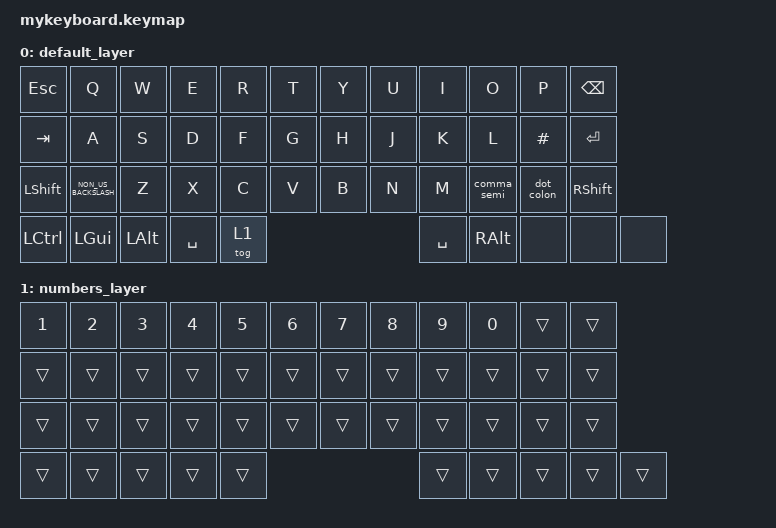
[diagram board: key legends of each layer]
#include <behaviors.dtsi>
#include <dt-bindings/zmk/keys.h>
#include <dt-bindings/zmk/bt.h>

/ {
    behaviors {
        // Custom-Taste: ohne Shift "," / mit Shift ";"
        comma_semi: comma_semi {
            compatible = "zmk,behavior-mod-morph";
            #binding-cells = <0>;
            bindings = <&kp COMMA>, <&kp SEMICOLON>;
            mods = <(MOD_LSFT|MOD_RSFT)>;
        };

        // Custom-Taste: ohne Shift "." / mit Shift ":"
        dot_colon: dot_colon {
            compatible = "zmk,behavior-mod-morph";
            #binding-cells = <0>;
            bindings = <&kp DOT>, <&kp COLON>;
            mods = <(MOD_LSFT|MOD_RSFT)>;
        };
    };

    keymap {
        compatible = "zmk,keymap";

        default_layer {
            // Reihen 0-2: 12 Tasten je Reihe
            // Reihe 3: 10 Tasten (Col 3 und Col 7 sind frei/nicht vorhanden -> Split-Space + Extra-Key)
            bindings = <
&kp ESC   &kp Q              &kp W &kp E &kp R &kp T &kp Y &kp U       &kp I   &kp O       &kp P      &kp BSPC
&kp TAB   &kp A              &kp S &kp D &kp F &kp G &kp H &kp J       &kp K   &kp L       &kp HASH   &kp ENTER
&kp LSHFT &kp NON_US_BACKSLASH &kp Z &kp X &kp C &kp V &kp B &kp N       &kp M   &comma_semi &dot_colon &kp RSHFT
&kp LCTRL &kp LGUI &kp LALT          &kp SPACE  &tog 1     &kp SPACE          &kp RALT &none &none &none
            >;
        };

        // Zahlen/Symbole-Layer - per Toggle (tog 1) aktiviert/deaktiviert
        // Aktuell nur Zahlenreihe befuellt, Rest als Platzhalter (&trans)
        numbers_layer {
            bindings = <
&kp N1 &kp N2 &kp N3 &kp N4 &kp N5 &kp N6 &kp N7 &kp N8 &kp N9 &kp N0 &trans &trans
&trans &trans &trans &trans &trans &trans &trans &trans &trans &trans &trans &trans
&trans &trans &trans &trans &trans &trans &trans &trans &trans &trans &trans &trans
&trans &trans &trans          &trans &trans          &trans          &trans &trans &trans &trans
            >;
        };
    };
};

